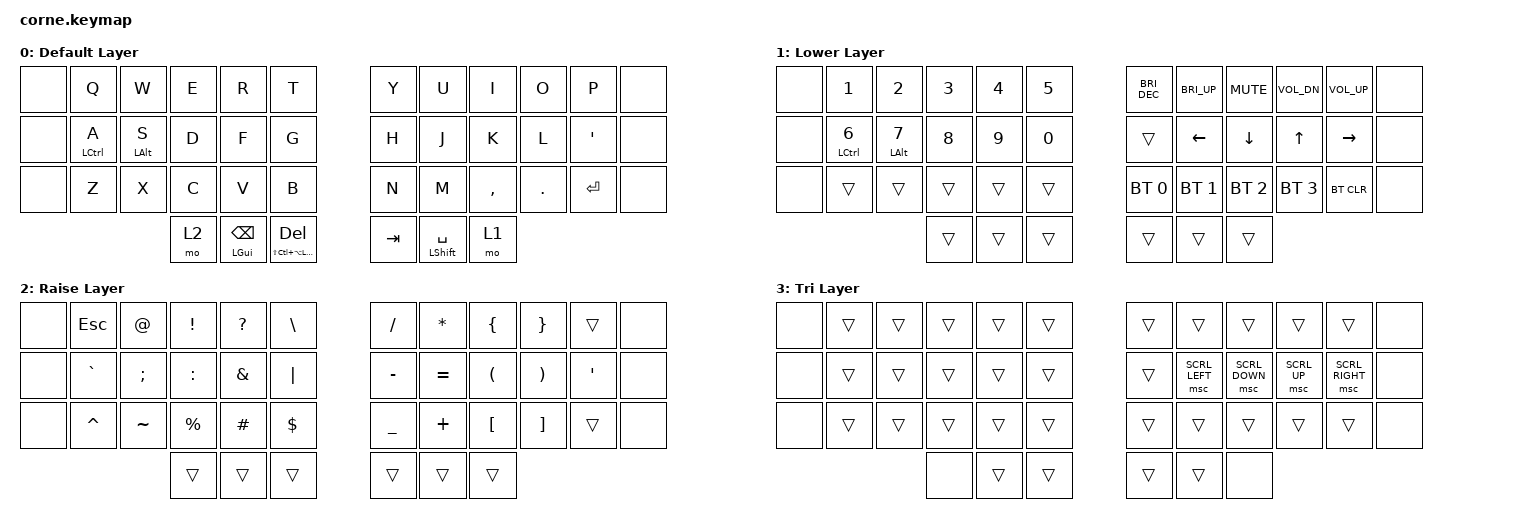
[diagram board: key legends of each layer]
/*
 * Copyright (c) 2020 The ZMK Contributors
 *
 * SPDX-License-Identifier: MIT
 */

#define ZMK_POINTING_DEFAULT_MOVE_VAL 600  // default: 600
#define ZMK_POINTING_DEFAULT_SCRL_VAL 10    // default: 10

#include <behaviors.dtsi>
#include <dt-bindings/zmk/keys.h>
#include <dt-bindings/zmk/bt.h>
#include <dt-bindings/zmk/pointing.h>

// Missing: 
// cmd tilde

/ {
        behaviors {
                hm: homerow_mods {
                        compatible = "zmk,behavior-hold-tap";
                        #binding-cells = <2>;
                        flavor = "balanced";
                        tapping-term-ms = <200>;
                        quick-tap-ms = <175>;
                        bindings = <&kp>, <&kp>;
                        require-prior-idle-ms = <150>;
                };
                hyper_del: hyperkey_delete {
                        compatible = "zmk,behavior-hold-tap";
                        #binding-cells = <2>;
                        flavor = "tap-preferred";
                        tapping-term-ms = <200>;
                        quick-tap-ms = <175>;
                        bindings = <&kp>, <&kp>;
                };
        };

        conditional_layers {
                compatible = "zmk,conditional-layers";
                tri_layer {
                        if-layers = <1 2>;
                        then-layer = <3>;
                };
        };

        keymap {
                compatible = "zmk,keymap";

                default_layer {
                        display-name = "Default Layer";
                        bindings = <
// ╭──────────┬───────────┬───────────┬───────────┬───────────┬───────────╮   ╭───────────┬───────────┬───────────┬───────────┬───────────┬───────────╮
// |   None   |     Q     |     W     |     E     |     R     |     T     |   |     Y     |     U     |     I     |     O     |     P     |    None   |
       &none       &kp Q      &kp W       &kp E       &kp R       &kp T           &kp Y       &kp U       &kp I       &kp O       &kp P       &none
// ├──────────┼───────────┼───────────┼───────────┼───────────┼───────────┤   ├───────────┼───────────┼───────────┼───────────┼───────────┼───────────┤
// |   None   |     A     |     S     |     D     |     F     |     G     |   |     H     |     J     |     K     |     L     |     '     |    None   |
       &none   &hm LCTRL A  &hm LALT S    &kp D       &kp F       &kp G           &kp H        &kp J      &kp K       &kp L      &kp SQT      &none  
// ├──────────┼───────────┼───────────┼───────────┼───────────┼───────────┤   ├───────────┼───────────┼───────────┼───────────┼───────────┼───────────┤
// |   None   |     Z     |     X     |     C     |     V     |     B     |   |     N     |     M     |     ,     |     .     |     ENT   |    None   |
      &none      &kp Z        &kp X       &kp C       &kp V       &kp B           &kp N       &kp M     &kp COMMA    &kp DOT     &kp RET      &none
// ╰──────────┴───────────┴───────────┼───────────┼───────────┼───────────┤   ├───────────┼───────────┼───────────┴───────────┴───────────┼───────────╯
//                                    |     L1    |   BSPC    |    DEL    |   |    TAB    |    SPC    |     L2    |
//                                    ╰───────────┴───────────┴───────────╯   ╰───────────┴───────────┴───────────╯
                                          &mo 2   &hm LGUI BSPC &hyper_del LS(LC(LA(LGUI))) DEL         &kp TAB  &hm LSHFT SPACE   &mo 1 
                        >;
                };

                lower_layer {
                        display-name = "Lower Layer";
                        bindings = <
// ╭──────────┬───────────┬───────────┬───────────┬───────────┬───────────╮   ╭───────────┬───────────┬───────────┬───────────┬───────────┬───────────╮
// |   None   |     1     |     2     |     3     |     4     |     5     |   |   BRI-    |   BRI+    |    MUTE   |   VOL-    |   VOL+    |    None   |
       &none     &kp N1       &kp N2      &kp N3     &kp N4       &kp N5      &kp C_BRI_DEC &kp C_BRI_UP &kp C_MUTE &kp C_VOL_DN &kp C_VOL_UP  &none
// ├──────────┼───────────┼───────────┼───────────┼───────────┼───────────┤   ├───────────┼───────────┼───────────┼───────────┼───────────┼───────────┤
// |   None   |      6    |     7     |     8     |     9     |     0     |   |           |    LFT    |    DWN    |     UP    |     RGT   |    None   |
       &none   &hm LCTRL N6 &hm LALT N7   &kp N8      &kp N9      &kp N0          &trans    &kp LEFT     &kp DOWN     &kp UP    &kp RIGHT     &none
// ├──────────┼───────────┼───────────┼───────────┼───────────┼───────────┤   ├───────────┼───────────┼───────────┼───────────┼───────────┼───────────┤
// |   None   |           |           |           |           |           |   |    BT0    |    BT1    |    BT2    |    BT3    |   BT_CLR  |    None   |
       &none     &trans      &trans      &trans       &trans     &trans      &bt BT_SEL 0 &bt BT_SEL 1 &bt BT_SEL 2 &bt BT_SEL 3 &bt BT_CLR   &none
// ╰──────────┴───────────┴───────────┼───────────┼───────────┼───────────┤   ├───────────┼───────────┼───────────┴───────────┴───────────┼───────────╯
//                                    |           |           |           |   |           |           |           |
                                          &trans      &trans      &trans          &trans      &trans      &trans
//                                    ╰───────────┴───────────┴───────────╯   ╰───────────┴───────────┴───────────╯
                        >;
                };

                raise_layer {
                        display-name = "Raise Layer";
                        bindings = <
// ╭──────────┬───────────┬───────────┬───────────┬───────────┬───────────╮   ╭───────────┬───────────┬───────────┬───────────┬───────────┬───────────╮
// |   None   |    ESC    |     @     |     !     |     ?     |     \     |   |     /     |     *     |     {     |     }     |           |    None   |
       &none     &kp ESC      &kp AT    &kp EXCL    &kp QMARK   &kp BSLH        &kp SLASH   &kp ASTRK   &kp LBRC    &kp RBRC     &trans       &none
// ├──────────┼───────────┼───────────┼───────────┼───────────┼───────────┤   ├───────────┼───────────┼───────────┼───────────┼───────────┼───────────┤
// |   None   |     `     |     ;     |     :     |     &     |     |     |   |     -     |     =     |     (     |     )     |     '     |    None   |
       &none    &kp GRAVE    &kp SEMI   &kp COLON   &kp AMPS     &kp PIPE       &kp MINUS   &kp EQUAL   &kp LPAR     &kp RPAR    &kp SQT      &none  
// ├──────────┼───────────┼───────────┼───────────┼───────────┼───────────┤   ├───────────┼───────────┼───────────┼───────────┼───────────┼───────────┤
// |   None   |     ^     |     ~     |    %      |     #     |     $     |   |     _     |     +     |     [     |     ]     |           |    None   |
      &none     &kp CARET   &kp TILDE   &kp PRCNT   &kp HASH    &kp DLLR        &kp UNDER   &kp PLUS    &kp LBKT     &kp RBKT    &trans       &none
// ╰──────────┴───────────┴───────────┼───────────┼───────────┼───────────┤   ├───────────┼───────────┼───────────┴───────────┴───────────┼───────────╯
//                                    |           |           |           |   |           |           |           |
                                          &trans      &trans      &trans          &trans      &trans      &trans
//                                    ╰───────────┴───────────┴───────────╯   ╰───────────┴───────────┴───────────╯
                        >;
                };

                tri_layer {
                        display-name = "Tri Layer";
                        bindings = <
// ╭──────────┬───────────┬───────────┬───────────┬───────────┬───────────╮   ╭───────────┬───────────┬───────────┬───────────┬───────────┬───────────╮
// |   None   |   Trans   |   Trans   |   Trans   |   Trans   |   Trans   |   |   play    |   Trans   |   Trans   |   Trans   |   Trans   |   None    |
      &none       &trans      &trans      &trans      &trans      &trans          &trans      &trans      &trans      &trans      &trans       &none
// ├──────────┼───────────┼───────────┼───────────┼───────────┼───────────┤   ├───────────┼───────────┼───────────┼───────────┼───────────┼───────────┤
// |   None   |   Trans   |   Trans   |   Trans   |   Trans   |   Trans   |   |   Trans   | SCRL LFT  | SCRL DWN  |  SCRL UP  |  SCRL RGT |   None    |
      &none       &trans      &trans      &trans      &trans      &trans         &trans  &msc SCRL_LEFT &msc SCRL_DOWN &msc SCRL_UP &msc SCRL_RIGHT &none  
// ├──────────┼───────────┼───────────┼───────────┼───────────┼───────────┤   ├───────────┼───────────┼───────────┼───────────┼───────────┼───────────┤
// |   None   |   Trans   |   Trans   |   Trans   |   Trans   |   Trans   |   |   Trans   |   Trans   |   Trans   |   Trans   |   Trans   |   None    |
      &none       &trans      &trans      &trans      &trans      &trans          &trans      &trans      &trans      &trans      &trans       &none
// ╰──────────┴───────────┴───────────┼───────────┼───────────┼───────────┤   ├───────────┼───────────┼───────────┴───────────┴───────────┼───────────╯
//                                    |   Trans   |   Trans   |   Trans   |   |   Trans   |   Trans   |   Trans   |
                                          &none      &trans      &trans          &trans      &trans      &none
//                                    ╰───────────┴───────────┴───────────╯   ╰───────────┴───────────┴───────────╯
                        >;
                };
        };
};

// Key positions:
// ╭──────────┬───────────┬───────────┬───────────┬───────────┬───────────╮   ╭───────────┬───────────┬───────────┬───────────┬───────────┬───────────╮
// |     0    |     1     |     2     |     3     |     4     |     5     |   |     6     |     7     |     8     |     9     |    10     |    11     |
// ├──────────┼───────────┼───────────┼───────────┼───────────┼───────────┤   ├───────────┼───────────┼───────────┼───────────┼───────────┼───────────┤
// |    12    |    13     |    14     |    15     |    16     |    17     |   |    18     |    19     |    20     |    21     |    22     |    23     |
// ├──────────┼───────────┼───────────┼───────────┼───────────┼───────────┤   ├───────────┼───────────┼───────────┼───────────┼───────────┼───────────┤
// |    24    |    25     |    26     |    27     |    28     |    29     |   |    30     |    31     |    32     |    33     |    34     |    35     |
// ╰──────────┴───────────┴───────────┼───────────┼───────────┼───────────┤   ├───────────┼───────────┼───────────┴───────────┴───────────┼───────────╯
//                                    |    36     |    37     |    38     |   |    39     |    40     |    41     |
//                                    ╰───────────┴───────────┴───────────╯   ╰───────────┴───────────┴───────────╯
